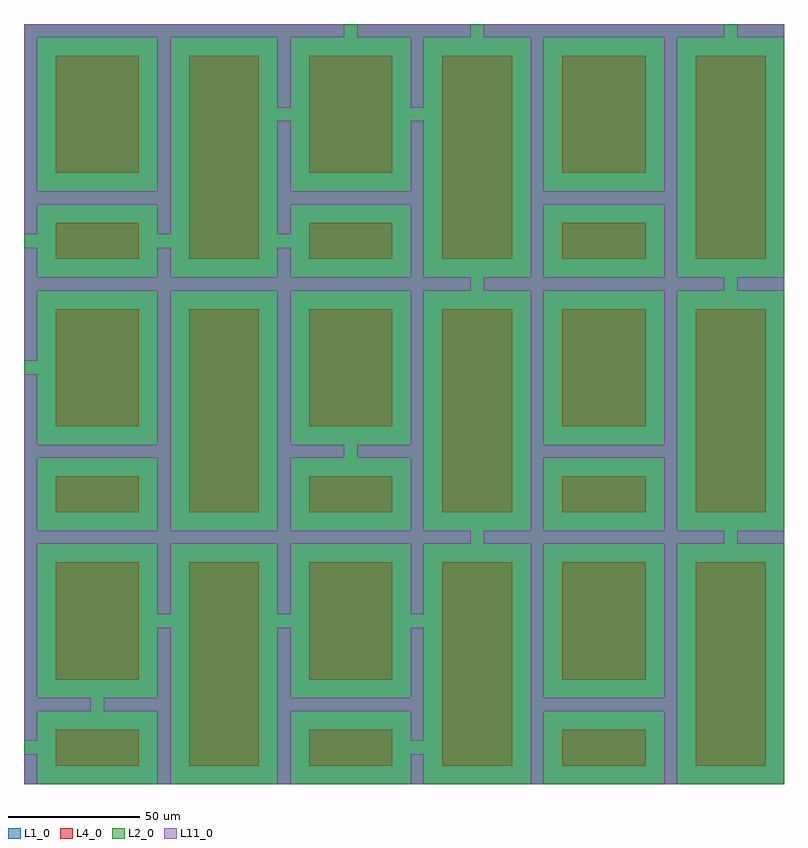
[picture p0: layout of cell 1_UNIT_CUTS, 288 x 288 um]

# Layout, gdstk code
import gdstk
lib = gdstk.Library(unit=1e-6, precision=1e-09)
def R(c, l, rs):  # rectangles x0, y0, x1, y1
    for r in rs: c.add(gdstk.rectangle(r[:2], r[2:], *l))
def A(c, l, x, y, w, h, nx, ny, dx, dy):  # array of equal rectangles
    R(c, l, [(x+i*dx, y+j*dy, x+i*dx+w, y+j*dy+h) for i in range(nx) for j in range(ny)])
def P(c, l, *ps):  # polygons
    for p in ps: c.add(gdstk.Polygon(p, *l))
L1_0 = (1, 0)
L2_0 = (2, 0)
L4_0 = (4, 0)
L11_0 = (11, 0)

c_0_unit = lib.new_cell('0_UNIT')
R(c_0_unit, L1_0, [(0,0,96,96), (0,0,96,96), (0,0,96,96), (0,0,96,96), (0,0,96,96), (0,0,96,96), (0,0,96,96), (0,0,96,96), (0,0,96,96), (0,0,96,96), (0,0,96,96), (0,0,96,96), (0,0,96,96), (0,0,96,96), (0,0,96,96), (0,0,96,96), (0,0,96,96), (0,0,96,96), (0,0,96,96), (0,0,96,96), (0,0,96,96), (0,0,96,96), (0,0,96,96), (0,0,96,96), (0,0,96,96), (0,0,96,96), (0,0,96,96), (0,0,96,96)])
R(c_0_unit, L4_0, [(12,7,43.55,20.6), (12,7,43.55,20.6), (12,7,43.55,20.6), (12,7,43.55,20.6), (12,7,43.55,20.6), (12,7,43.55,20.6), (12,7,43.55,20.6), (12,7,43.55,20.6), (12,7,43.55,20.6), (12,7,43.55,20.6), (12,7,43.55,20.6), (12,7,43.55,20.6), (12,7,43.55,20.6), (12,7,43.55,20.6), (12,7,43.55,20.6), (12,7,43.55,20.6), (12,7,43.55,20.6), (12,7,43.55,20.6), (12,7,43.55,20.6), (12,7,43.55,20.6), (12,7,43.55,20.6), (12,7,43.55,20.6), (12,7,43.55,20.6), (12,7,43.55,20.6), (12,7,43.55,20.6), (12,7,43.55,20.6), (12,7,43.55,20.6), (12,7,43.55,20.6), (62.55,7,89,84), (62.55,7,89,84), (62.55,7,89,84), (62.55,7,89,84), (62.55,7,89,84), (62.55,7,89,84), (62.55,7,89,84), (62.55,7,89,84), (62.55,7,89,84), (62.55,7,89,84), (62.55,7,89,84), (62.55,7,89,84), (62.55,7,89,84), (62.55,7,89,84), (62.55,7,89,84), (62.55,7,89,84), (62.55,7,89,84), (62.55,7,89,84), (62.55,7,89,84), (62.55,7,89,84), (62.55,7,89,84), (62.55,7,89,84), (62.55,7,89,84), (62.55,7,89,84), (62.55,7,89,84), (62.55,7,89,84), (62.55,7,89,84), (62.55,7,89,84), (12,39.6,43.55,84), (12,39.6,43.55,84), (12,39.6,43.55,84), (12,39.6,43.55,84), (12,39.6,43.55,84), (12,39.6,43.55,84), (12,39.6,43.55,84), (12,39.6,43.55,84), (12,39.6,43.55,84), (12,39.6,43.55,84), (12,39.6,43.55,84), (12,39.6,43.55,84), (12,39.6,43.55,84), (12,39.6,43.55,84), (12,39.6,43.55,84), (12,39.6,43.55,84), (12,39.6,43.55,84), (12,39.6,43.55,84), (12,39.6,43.55,84), (12,39.6,43.55,84), (12,39.6,43.55,84), (12,39.6,43.55,84), (12,39.6,43.55,84), (12,39.6,43.55,84), (12,39.6,43.55,84), (12,39.6,43.55,84), (12,39.6,43.55,84), (12,39.6,43.55,84)])

c_1_unit = lib.new_cell('1_UNIT')
R(c_1_unit, L2_0, [(0,0,288,288), (0,0,288,288), (0,0,288,288), (0,0,288,288), (0,0,288,288), (0,0,288,288), (0,0,288,288), (0,0,288,288), (0,0,288,288), (0,0,288,288), (0,0,288,288), (0,0,288,288), (0,0,288,288), (0,0,288,288), (0,0,288,288), (0,0,288,288), (0,0,288,288), (0,0,288,288), (0,0,288,288), (0,0,288,288), (0,0,288,288), (0,0,288,288), (0,0,288,288), (0,0,288,288), (0,0,288,288), (0,0,288,288), (0,0,288,288), (0,0,288,288)])
r = gdstk.Reference(c_0_unit, (0,0)); r.repetition = gdstk.Repetition(3, 3, v1=(96,0), v2=(0,96)); c_1_unit.add(r)
r = gdstk.Reference(c_0_unit, (0,0)); r.repetition = gdstk.Repetition(3, 3, v1=(96,0), v2=(0,96)); c_1_unit.add(r)
r = gdstk.Reference(c_0_unit, (0,0)); r.repetition = gdstk.Repetition(3, 3, v1=(96,0), v2=(0,96)); c_1_unit.add(r)
r = gdstk.Reference(c_0_unit, (0,0)); r.repetition = gdstk.Repetition(3, 3, v1=(96,0), v2=(0,96)); c_1_unit.add(r)
r = gdstk.Reference(c_0_unit, (0,0)); r.repetition = gdstk.Repetition(3, 3, v1=(96,0), v2=(0,96)); c_1_unit.add(r)
r = gdstk.Reference(c_0_unit, (0,0)); r.repetition = gdstk.Repetition(3, 3, v1=(96,0), v2=(0,96)); c_1_unit.add(r)
r = gdstk.Reference(c_0_unit, (0,0)); r.repetition = gdstk.Repetition(3, 3, v1=(96,0), v2=(0,96)); c_1_unit.add(r)
r = gdstk.Reference(c_0_unit, (0,0)); r.repetition = gdstk.Repetition(3, 3, v1=(96,0), v2=(0,96)); c_1_unit.add(r)
r = gdstk.Reference(c_0_unit, (0,0)); r.repetition = gdstk.Repetition(3, 3, v1=(96,0), v2=(0,96)); c_1_unit.add(r)
r = gdstk.Reference(c_0_unit, (0,0)); r.repetition = gdstk.Repetition(3, 3, v1=(96,0), v2=(0,96)); c_1_unit.add(r)
r = gdstk.Reference(c_0_unit, (0,0)); r.repetition = gdstk.Repetition(3, 3, v1=(96,0), v2=(0,96)); c_1_unit.add(r)
r = gdstk.Reference(c_0_unit, (0,0)); r.repetition = gdstk.Repetition(3, 3, v1=(96,0), v2=(0,96)); c_1_unit.add(r)
r = gdstk.Reference(c_0_unit, (0,0)); r.repetition = gdstk.Repetition(3, 3, v1=(96,0), v2=(0,96)); c_1_unit.add(r)
r = gdstk.Reference(c_0_unit, (0,0)); r.repetition = gdstk.Repetition(3, 3, v1=(96,0), v2=(0,96)); c_1_unit.add(r)
r = gdstk.Reference(c_0_unit, (0,0)); r.repetition = gdstk.Repetition(3, 3, v1=(96,0), v2=(0,96)); c_1_unit.add(r)
r = gdstk.Reference(c_0_unit, (0,0)); r.repetition = gdstk.Repetition(3, 3, v1=(96,0), v2=(0,96)); c_1_unit.add(r)
r = gdstk.Reference(c_0_unit, (0,0)); r.repetition = gdstk.Repetition(3, 3, v1=(96,0), v2=(0,96)); c_1_unit.add(r)
r = gdstk.Reference(c_0_unit, (0,0)); r.repetition = gdstk.Repetition(3, 3, v1=(96,0), v2=(0,96)); c_1_unit.add(r)
r = gdstk.Reference(c_0_unit, (0,0)); r.repetition = gdstk.Repetition(3, 3, v1=(96,0), v2=(0,96)); c_1_unit.add(r)
r = gdstk.Reference(c_0_unit, (0,0)); r.repetition = gdstk.Repetition(3, 3, v1=(96,0), v2=(0,96)); c_1_unit.add(r)
r = gdstk.Reference(c_0_unit, (0,0)); r.repetition = gdstk.Repetition(3, 3, v1=(96,0), v2=(0,96)); c_1_unit.add(r)
r = gdstk.Reference(c_0_unit, (0,0)); r.repetition = gdstk.Repetition(3, 3, v1=(96,0), v2=(0,96)); c_1_unit.add(r)
r = gdstk.Reference(c_0_unit, (0,0)); r.repetition = gdstk.Repetition(3, 3, v1=(96,0), v2=(0,96)); c_1_unit.add(r)
r = gdstk.Reference(c_0_unit, (0,0)); r.repetition = gdstk.Repetition(3, 3, v1=(96,0), v2=(0,96)); c_1_unit.add(r)
r = gdstk.Reference(c_0_unit, (0,0)); r.repetition = gdstk.Repetition(3, 3, v1=(96,0), v2=(0,96)); c_1_unit.add(r)
r = gdstk.Reference(c_0_unit, (0,0)); r.repetition = gdstk.Repetition(3, 3, v1=(96,0), v2=(0,96)); c_1_unit.add(r)
r = gdstk.Reference(c_0_unit, (0,0)); r.repetition = gdstk.Repetition(3, 3, v1=(96,0), v2=(0,96)); c_1_unit.add(r)
r = gdstk.Reference(c_0_unit, (0,0)); r.repetition = gdstk.Repetition(3, 3, v1=(96,0), v2=(0,96)); c_1_unit.add(r)

c_1_unit_cuts = lib.new_cell('1_UNIT_CUTS')
A(c_1_unit_cuts, L11_0, 270.275, 91, 17.725, 5, 1, 3, 0, 96)
R(c_1_unit_cuts, L11_0, [(0,0,5,11.3), (146.55,0,151.55,11.3)])
P(c_1_unit_cuts, L11_0, [(50.55,0),(50.55,27.6),(30.275,27.6),(30.275,32.6),(50.55,32.6),(50.55,59.3),(55.55,59.3),(55.55,0)],
  [(96,0),(96,59.3),(101,59.3),(101,32.6),(146.55,32.6),(146.55,59.3),(151.55,59.3),(151.55,16.3),(146.55,16.3),(146.55,27.6),(101,27.6),(101,0)],
  [(0,16.3),(0,123.6),(5,123.6),(5,96),(50.55,96),(50.55,123.6),(0,123.6),(0,155.3),(5,155.3),(5,128.6),(50.55,128.6),(50.55,187),(5,187),(5,160.3),(0,160.3),(0,187),(55.55,187),(55.55,96),(96,96),(96,187),(101,187),(101,128.6),(121.275,128.6),(121.275,123.6),(101,123.6),(101,96),(146.55,96),(146.55,123.6),(126.275,123.6),(126.275,128.6),(146.55,128.6),(146.55,187),(0,187),(0,203.3),(5,203.3),(5,192),(50.55,192),(50.55,203.3),(55.55,203.3),(55.55,192),(96,192),(96,203.3),(101,203.3),(101,192),(146.55,192),(146.55,219.6),(101,219.6),(101,208.3),(96,208.3),(96,251.3),(101,251.3),(101,224.6),(146.55,224.6),(146.55,251.3),(151.55,251.3),(151.55,192),(169.275,192),(169.275,187),(151.55,187),(151.55,96),(169.275,96),(169.275,91),(151.55,91),(151.55,64.3),(146.55,64.3),(146.55,91),(101,91),(101,64.3),(96,64.3),(96,91),(55.55,91),(55.55,64.3),(50.55,64.3),(50.55,91),(5,91),(5,32.6),(25.275,32.6),(25.275,27.6),(5,27.6),(5,16.3)],
  [(0,208.3),(0,283),(5,283),(5,224.6),(50.55,224.6),(50.55,283),(0,283),(0,288),(121.275,288),(121.275,283),(101,283),(101,256.3),(96,256.3),(96,283),(55.55,283),(55.55,208.3),(50.55,208.3),(50.55,219.6),(5,219.6),(5,208.3)],
  [(146.55,256.3),(146.55,283),(126.275,283),(126.275,288),(169.275,288),(169.275,283),(151.55,283),(151.55,256.3)],
  [(192,0),(192,91),(197,91),(197,32.6),(242.55,32.6),(242.55,91),(174.275,91),(174.275,96),(192,96),(192,123.6),(197,123.6),(197,96),(242.55,96),(242.55,123.6),(192,123.6),(192,187),(197,187),(197,128.6),(242.55,128.6),(242.55,187),(174.275,187),(174.275,192),(192,192),(192,219.6),(197,219.6),(197,192),(242.55,192),(242.55,219.6),(192,219.6),(192,283),(197,283),(197,224.6),(242.55,224.6),(242.55,283),(174.275,283),(174.275,288),(265.275,288),(265.275,283),(247.55,283),(247.55,192),(265.275,192),(265.275,187),(247.55,187),(247.55,96),(265.275,96),(265.275,91),(247.55,91),(247.55,0),(242.55,0),(242.55,27.6),(197,27.6),(197,0)])
c_1_unit_cuts.add(gdstk.Reference(c_1_unit, (0,0)))

lib.write_gds('1_UNIT_CUTS.gds')
